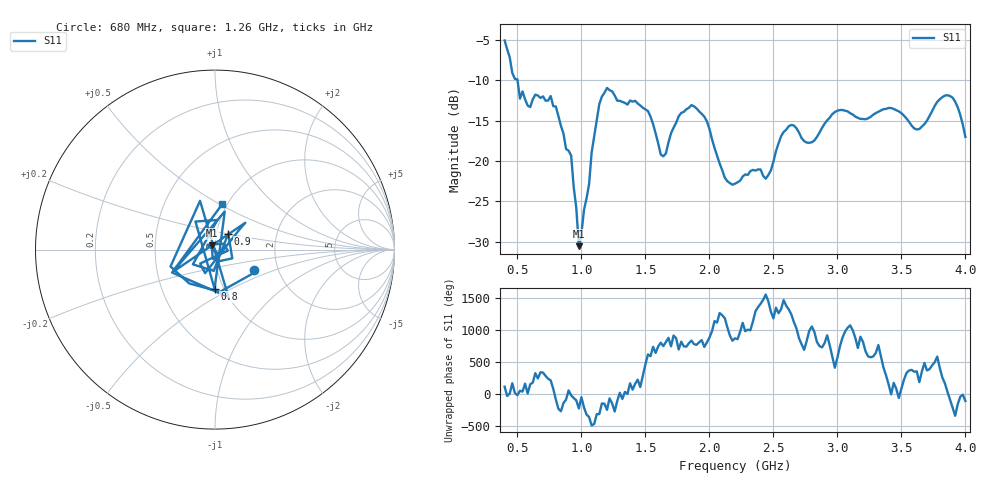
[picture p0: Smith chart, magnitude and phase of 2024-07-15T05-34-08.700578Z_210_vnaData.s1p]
!Created with skrf (http://scikit-rf.org).
# Hz S RI R 50.0
!freq ReS11 ImS11
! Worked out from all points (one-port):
!   181 points, 400 MHz to 4 GHz, reference 50 ohm
!   lowest |S11| = -30.6 dB at 980 MHz (marker M1), VSWR 1.06, Z = 48.2 + j2.25 ohm
!   |S11| at or under -10 dB: 501.1 MHz to end of sweep
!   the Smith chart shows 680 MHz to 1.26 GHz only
!   S11 on the Smith chart (normalised r, x): 680 MHz: 1.51, -0.36; 800 MHz: 0.91, -0.41; 900 MHz: 1.14, +0.21; 1.26 GHz: 0.95, +0.51
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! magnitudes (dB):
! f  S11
! 400 MHz  -5.0
! 520 MHz  -12.3
! 680 MHz  -12.2
! 800 MHz  -13.2
! 860 MHz  -16.6
! 900 MHz  -18.7
! 920 MHz  -19.3
! 980 MHz  -30.6
! 1.14 GHz  -12.9
! 1.2 GHz  -10.9
! 1.26 GHz  -11.9
! 1.3 GHz  -12.5
! 1.52 GHz  -13.8
! 1.64 GHz  -19.4
! 1.76 GHz  -14.5
! 1.96 GHz  -14.5
! 2.12 GHz  -22.1
! 2.2 GHz  -22.8
! 2.44 GHz  -22.2
! 2.56 GHz  -16.9
! 2.66 GHz  -15.6
! 2.78 GHz  -17.7
! 2.98 GHz  -13.9
! 3.1 GHz  -14.1
! 3.56 GHz  -15.1
! 3.64 GHz  -16.0
! 3.86 GHz  -11.8
! 4 GHz  -17.0
